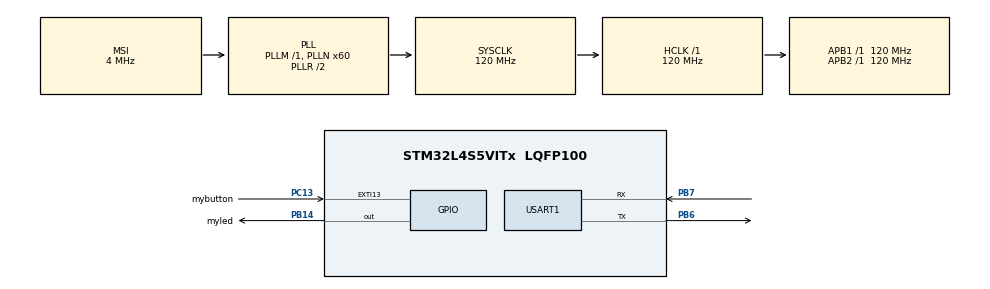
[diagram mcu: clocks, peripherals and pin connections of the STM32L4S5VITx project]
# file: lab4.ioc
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FREERTOS.Tasks01=defaultTask,0,256,StartDefaultTask,Default,NULL,Dynamic,NULL,NULL;myTask02,-3,256,StartTask02,Default,NULL,Dynamic,NULL,NULL;myTask03,-3,256,StartTask03,Default,NULL,Dynamic,NULL,NULL;myTask04,0,256,StartTask04,Default,NULL,Dynamic,NULL,NULL
Mcu.Family=STM32L4
Mcu.Name=STM32L4S5VITx
Mcu.Package=LQFP100
NVIC.EXTI15_10_IRQn=true\:5\:0\:false\:false\:true\:true\:true\:true\:true
NVIC.PriorityGroup=NVIC_PRIORITYGROUP_4
NVIC.TIM2_IRQn=true\:5\:0\:false\:false\:true\:true\:true\:true\:true
NVIC.TIM7_IRQn=true\:15\:0\:false\:false\:true\:false\:false\:true\:true
NVIC.TimeBase=TIM7_IRQn
NVIC.TimeBaseIP=TIM7
PB14.GPIO_Label=myled
PB14.Signal=GPIO_Output
PB6.Mode=Asynchronous
PB6.Signal=USART1_TX
PB7.Mode=Asynchronous
PB7.Signal=USART1_RX
PC13.GPIO_Label=mybutton
PC13.Signal=GPXTI13
ProjectManager.HeapSize=0x200
ProjectManager.StackSize=0x400
ProjectManager.TargetToolchain=STM32CubeIDE
RCC.ADCFreq_Value=48000000
RCC.AHBFreq_Value=120000000
RCC.APB1Freq_Value=120000000
RCC.APB1TimFreq_Value=120000000
RCC.APB2Freq_Value=120000000
RCC.APB2TimFreq_Value=120000000
RCC.CortexFreq_Value=120000000
RCC.HCLKFreq_Value=120000000
RCC.HSE_VALUE=8000000
RCC.HSI48_VALUE=48000000
RCC.HSI_VALUE=16000000
RCC.LSE_VALUE=32768
RCC.MSI_VALUE=4000000
RCC.PLLN=60
RCC.PLLSAI1N=24
RCC.SYSCLKFreq_VALUE=120000000
RCC.SYSCLKSource=RCC_SYSCLKSOURCE_PLLCLK
RCC.USBFreq_Value=48000000
RCC.VCOOutputFreq_Value=240000000
TIM2.Period=2721
USART1.VirtualMode-Asynchronous=VM_ASYNC
VP_FREERTOS_VS_CMSIS_V1.Mode=CMSIS_V1
VP_SYS_VS_tim7.Mode=TIM7
VP_TIM2_VS_ClockSourceINT.Mode=Internal
board=B-L4S5I-IOT01A

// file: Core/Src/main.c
/* USER CODE BEGIN Header */
/**
  ******************************************************************************
  * @file           : main.c
  * @brief          : Main program body
  ******************************************************************************
  * @attention
  *
  * Copyright (c) 2023 STMicroelectronics.
  * All rights reserved.
  *
  * This software is licensed under terms that can be found in the LICENSE file
  * in the root directory of this software component.
  * If no LICENSE file comes with this software, it is provided AS-IS.
  *
  ******************************************************************************
  */
/* USER CODE END Header */
#include "main.h"
#include "cmsis_os.h"

/* USER CODE BEGIN Includes */
#include "stm32l4s5i_iot01_tsensor.h"
#include "stm32l4s5i_iot01.h"
#include "stm32l4s5i_iot01_accelero.h"
#include "stm32l4s5i_iot01_gyro.h"
#include "stm32l4s5i_iot01_hsensor.h"
#include "stm32l4s5i_iot01_magneto.h"
#include "stm32l4s5i_iot01_psensor.h"
#include <stdio.h>
//#include "stm32l4s5i_iot01_qspi.h"
/* USER CODE END Includes */

TIM_HandleTypeDef htim2;

UART_HandleTypeDef huart1;

osThreadId defaultTaskHandle;
osThreadId myTask02Handle;
osThreadId myTask03Handle;
osThreadId myTask04Handle;

void SystemClock_Config(void);
static void MX_GPIO_Init(void);
static void MX_TIM2_Init(void);
static void MX_USART1_UART_Init(void);
void StartDefaultTask(void const * argument);
void StartTask02(void const * argument);
void StartTask03(void const * argument);
void StartTask04(void const * argument);

/* USER CODE BEGIN PFP */
#ifdef __GNUC__
#define PUTCHAR_PROTOTYPE int __io_putchar(int ch)
#else
#define PUTCHAR_PROTOTYPE int fputc(int ch, FILE *f)
#endif

PUTCHAR_PROTOTYPE
{
  HAL_UART_Transmit(&huart1, (uint8_t *)&ch, 1, HAL_MAX_DELAY);
  return ch;
}
/* USER CODE END PFP */

/* USER CODE BEGIN 0 */
char str[100];
volatile int currentSensor = 0;
int test, test2, test3;
char prev = 0, status = 0;
float humidity, pressure, gyroscope[3];
int16_t magnetometer[3];
int h=0;

//for part 1
void HAL_GPIO_EXTI_Callback (uint16_t GPIO_Pin){
	if(GPIO_Pin == mybutton_Pin){
		HAL_GPIO_TogglePin(myled_GPIO_Port, myled_Pin); // Toggle LED
		currentSensor++;
	}
	if(currentSensor%4==0) currentSensor = 0;
}

void ReadSensorValues(int sensorIndex)
{
//	printf("hello");
  switch (sensorIndex)
  {
    case 0: // Display humidity from HTS221
      humidity = BSP_HSENSOR_ReadHumidity();
      h = (int) humidity;
      break;

    case 1: // Display magnetic field (X-axis) from LIS3MDL
      BSP_MAGNETO_GetXYZ(magnetometer);
      break;

    case 2: // Display gyroscope (X-axis) from LSM6DSL
      BSP_GYRO_GetXYZ(gyroscope);
      break;

    case 3: // Display pressure from LPS22HB
      pressure = BSP_PSENSOR_ReadPressure();
      break;

    default:
      break;
  }
}
void PrintSensorValues(int sensorIndex)
{
  switch (sensorIndex)
  {
    case 0: // Display humidity from HTS221

      printf("Humidity: %d percent\r\n", h);
      break;

    case 1: // Display magnetic field (X-axis) from LIS3MDL
      printf("Magnetometer X: %d mG\r\n", (int)magnetometer[0]);
      break;

    case 2: // Display gyroscope (X-axis) from LSM6DSL
      printf("Gyroscope X: %d dps\r\n", (int)gyroscope[0]);
      break;

    case 3: // Display pressure from LPS22HB
      printf("Pressure: %d hPa\r\n", (int)pressure);
      break;

    default:
      break;
  }
}

void ReadAllSensorValues(void)
{

  // Read humidity from HTS221
  humidity = BSP_HSENSOR_ReadHumidity();

  // Read magnetometer values from LIS3MDL
  BSP_MAGNETO_GetXYZ(magnetometer);

  // Read gyroscope values from LSM6DSL
  BSP_GYRO_GetXYZ(gyroscope);

  // Read pressure from LPS22HB
  pressure = BSP_PSENSOR_ReadPressure();

}
void PrintAllSensorValues(void) {
	  printf("Humidity: %.2f %%\r\n", humidity);
	  printf("Magnetometer X: %.2f mG\r\n", magnetometer[0]);
	  printf("Gyroscope X: %.2f dps\r\n", gyroscope[0]);
	  printf("Pressure: %.2f hPa\r\n", pressure);
}
/* USER CODE END 0 */

int main(void)
{
  /* USER CODE BEGIN 1 */
	for (int int1=0; int1<100; int1++){
		str[int1]='\0';
	}
  /* USER CODE END 1 */

  /* MCU Configuration--------------------------------------------------------*/

  /* Reset of all peripherals, Initializes the Flash interface and the Systick. */
  HAL_Init();

  /* Configure the system clock */
  SystemClock_Config();

  /* Initialize all configured peripherals */
  MX_GPIO_Init();
  MX_TIM2_Init();
  MX_USART1_UART_Init();
  /* USER CODE BEGIN 2 */
  BSP_HSENSOR_Init(); // Initialize HTS221 (humidity sensor)
  BSP_MAGNETO_Init(); // Initialize LIS3MDL (magnetometer)
  BSP_GYRO_Init();    // Initialize LSM6DSL (gyroscope)
  BSP_PSENSOR_Init(); // Initialize LPS22HB (pressure sensor)

  /* USER CODE END 2 */

  /* Create the thread(s) */
  /* definition and creation of defaultTask */
  osThreadDef(defaultTask, StartDefaultTask, osPriorityNormal, 0, 256);
  defaultTaskHandle = osThreadCreate(osThread(defaultTask), NULL);

  /* definition and creation of myTask02 */
  osThreadDef(myTask02, StartTask02, osPriorityIdle, 0, 256);
  myTask02Handle = osThreadCreate(osThread(myTask02), NULL);

  /* definition and creation of myTask03 */
  osThreadDef(myTask03, StartTask03, osPriorityIdle, 0, 256);
  myTask03Handle = osThreadCreate(osThread(myTask03), NULL);

  /* definition and creation of myTask04 */
//  osThreadDef(myTask04, StartTask04, osPriorityNormal, 0, 256);
//  myTask04Handle = osThreadCreate(osThread(myTask04), NULL);

  /* USER CODE BEGIN RTOS_THREADS */
//  /* add threads, ... */
  /* USER CODE END RTOS_THREADS */

  /* Start scheduler */
  osKernelStart();

  /* We should never get here as control is now taken by the scheduler */
  /* Infinite loop */
  while (1)
  {

    /* USER CODE BEGIN 3 */

	  // for part 1
	  ReadSensorValues(currentSensor);
	  PrintSensorValues(currentSensor);
	  HAL_Delay(100); // 10 Hz sampling rate (100 ms delay between reads)
  }
  /* USER CODE END 3 */
}

void SystemClock_Config(void)
{
  RCC_OscInitTypeDef RCC_OscInitStruct = {0};
  RCC_ClkInitTypeDef RCC_ClkInitStruct = {0};

  /** Configure the main internal regulator output voltage
  */
  if (HAL_PWREx_ControlVoltageScaling(PWR_REGULATOR_VOLTAGE_SCALE1_BOOST) != HAL_OK)
  {
    Error_Handler();
  }

  /** Initializes the RCC Oscillators according to the specified parameters
  * in the RCC_OscInitTypeDef structure.
  */
  RCC_OscInitStruct.OscillatorType = RCC_OSCILLATORTYPE_MSI;
  RCC_OscInitStruct.MSIState = RCC_MSI_ON;
  RCC_OscInitStruct.MSICalibrationValue = 0;
  RCC_OscInitStruct.MSIClockRange = RCC_MSIRANGE_6;
  RCC_OscInitStruct.PLL.PLLState = RCC_PLL_ON;
  RCC_OscInitStruct.PLL.PLLSource = RCC_PLLSOURCE_MSI;
  RCC_OscInitStruct.PLL.PLLM = 1;
  RCC_OscInitStruct.PLL.PLLN = 60;
  RCC_OscInitStruct.PLL.PLLP = RCC_PLLP_DIV2;
  RCC_OscInitStruct.PLL.PLLQ = RCC_PLLQ_DIV2;
  RCC_OscInitStruct.PLL.PLLR = RCC_PLLR_DIV2;
  if (HAL_RCC_OscConfig(&RCC_OscInitStruct) != HAL_OK)
  {
    Error_Handler();
  }

  /** Initializes the CPU, AHB and APB buses clocks
  */
  RCC_ClkInitStruct.ClockType = RCC_CLOCKTYPE_HCLK|RCC_CLOCKTYPE_SYSCLK
                              |RCC_CLOCKTYPE_PCLK1|RCC_CLOCKTYPE_PCLK2;
  RCC_ClkInitStruct.SYSCLKSource = RCC_SYSCLKSOURCE_PLLCLK;
  RCC_ClkInitStruct.AHBCLKDivider = RCC_SYSCLK_DIV1;
  RCC_ClkInitStruct.APB1CLKDivider = RCC_HCLK_DIV1;
  RCC_ClkInitStruct.APB2CLKDivider = RCC_HCLK_DIV1;

  if (HAL_RCC_ClockConfig(&RCC_ClkInitStruct, FLASH_LATENCY_5) != HAL_OK)
  {
    Error_Handler();
  }
}

static void MX_TIM2_Init(void)
{

  TIM_ClockConfigTypeDef sClockSourceConfig = {0};
  TIM_MasterConfigTypeDef sMasterConfig = {0};

  htim2.Instance = TIM2;
  htim2.Init.Prescaler = 0;
  htim2.Init.CounterMode = TIM_COUNTERMODE_UP;
  htim2.Init.Period = 2721;
  htim2.Init.ClockDivision = TIM_CLOCKDIVISION_DIV1;
  htim2.Init.AutoReloadPreload = TIM_AUTORELOAD_PRELOAD_DISABLE;
  if (HAL_TIM_Base_Init(&htim2) != HAL_OK)
  {
    Error_Handler();
  }
  sClockSourceConfig.ClockSource = TIM_CLOCKSOURCE_INTERNAL;
  if (HAL_TIM_ConfigClockSource(&htim2, &sClockSourceConfig) != HAL_OK)
  {
    Error_Handler();
  }
  sMasterConfig.MasterOutputTrigger = TIM_TRGO_RESET;
  sMasterConfig.MasterSlaveMode = TIM_MASTERSLAVEMODE_DISABLE;
  if (HAL_TIMEx_MasterConfigSynchronization(&htim2, &sMasterConfig) != HAL_OK)
  {
    Error_Handler();
  }

}

static void MX_USART1_UART_Init(void)
{

  huart1.Instance = USART1;
  huart1.Init.BaudRate = 115200;
  huart1.Init.WordLength = UART_WORDLENGTH_8B;
  huart1.Init.StopBits = UART_STOPBITS_1;
  huart1.Init.Parity = UART_PARITY_NONE;
  huart1.Init.Mode = UART_MODE_TX_RX;
  huart1.Init.HwFlowCtl = UART_HWCONTROL_NONE;
  huart1.Init.OverSampling = UART_OVERSAMPLING_16;
  huart1.Init.OneBitSampling = UART_ONE_BIT_SAMPLE_DISABLE;
  huart1.Init.ClockPrescaler = UART_PRESCALER_DIV1;
  huart1.AdvancedInit.AdvFeatureInit = UART_ADVFEATURE_NO_INIT;
  if (HAL_UART_Init(&huart1) != HAL_OK)
  {
    Error_Handler();
  }
  if (HAL_UARTEx_SetTxFifoThreshold(&huart1, UART_TXFIFO_THRESHOLD_1_8) != HAL_OK)
  {
    Error_Handler();
  }
  if (HAL_UARTEx_SetRxFifoThreshold(&huart1, UART_RXFIFO_THRESHOLD_1_8) != HAL_OK)
  {
    Error_Handler();
  }
  if (HAL_UARTEx_DisableFifoMode(&huart1) != HAL_OK)
  {
    Error_Handler();
  }

}

static void MX_GPIO_Init(void)
{
  GPIO_InitTypeDef GPIO_InitStruct = {0};

  /* GPIO Ports Clock Enable */
  __HAL_RCC_GPIOC_CLK_ENABLE();
  __HAL_RCC_GPIOB_CLK_ENABLE();

  /*Configure GPIO pin Output Level */
  HAL_GPIO_WritePin(myled_GPIO_Port, myled_Pin, GPIO_PIN_RESET);

  /*Configure GPIO pin : mybutton_Pin */
  GPIO_InitStruct.Pin = mybutton_Pin;
  GPIO_InitStruct.Mode = GPIO_MODE_IT_RISING;
  GPIO_InitStruct.Pull = GPIO_NOPULL;
  HAL_GPIO_Init(mybutton_GPIO_Port, &GPIO_InitStruct);

  /*Configure GPIO pin : myled_Pin */
  GPIO_InitStruct.Pin = myled_Pin;
  GPIO_InitStruct.Mode = GPIO_MODE_OUTPUT_PP;
  GPIO_InitStruct.Pull = GPIO_NOPULL;
  GPIO_InitStruct.Speed = GPIO_SPEED_FREQ_LOW;
  HAL_GPIO_Init(myled_GPIO_Port, &GPIO_InitStruct);

  /* EXTI interrupt init*/
  HAL_NVIC_SetPriority(EXTI15_10_IRQn, 5, 0);
  HAL_NVIC_EnableIRQ(EXTI15_10_IRQn);

}

void StartDefaultTask(void const * argument)
{
  /* USER CODE BEGIN 5 */
  /* Infinite loop */
  for(;;)
  {
	osDelay(100);
	ReadSensorValues(currentSensor);
	PrintSensorValues(currentSensor);
  }
  /* USER CODE END 5 */
}

void StartTask02(void const * argument)
{
  /* USER CODE BEGIN StartTask02 */
  /* Infinite loop */
  for(;;)
  {
    osDelay(2);
    status = HAL_GPIO_ReadPin(mybutton_GPIO_Port, mybutton_Pin);
    	if(status != prev){ // button was pressed or released
    		if(status == GPIO_PIN_RESET){ // button was pressed SET=1, RESET=0
    			HAL_GPIO_TogglePin(myled_GPIO_Port, myled_Pin); // Toggle LED
    			currentSensor = (currentSensor+1)%4;
    		}
    		prev = status; // update previous status
    	}
  }
  /* USER CODE END StartTask02 */
}

void StartTask03(void const * argument)
{
  /* USER CODE BEGIN StartTask03 */
  /* Infinite loop */
  for(;;)
  {
    osDelay(100);
    PrintSensorValues(currentSensor);
  }
  /* USER CODE END StartTask03 */
}

void StartTask04(void const * argument)
{
  /* USER CODE BEGIN StartTask04 */
  /* Infinite loop */
  for(;;)
  {
    osDelay(100);
    PrintSensorValues(currentSensor);
  }
  /* USER CODE END StartTask04 */
}

void HAL_TIM_PeriodElapsedCallback(TIM_HandleTypeDef *htim)
{
  if (htim->Instance == TIM7) {
    HAL_IncTick();
  }
}

void Error_Handler(void)
{
  __disable_irq();
  while (1)
  {
  }
}
